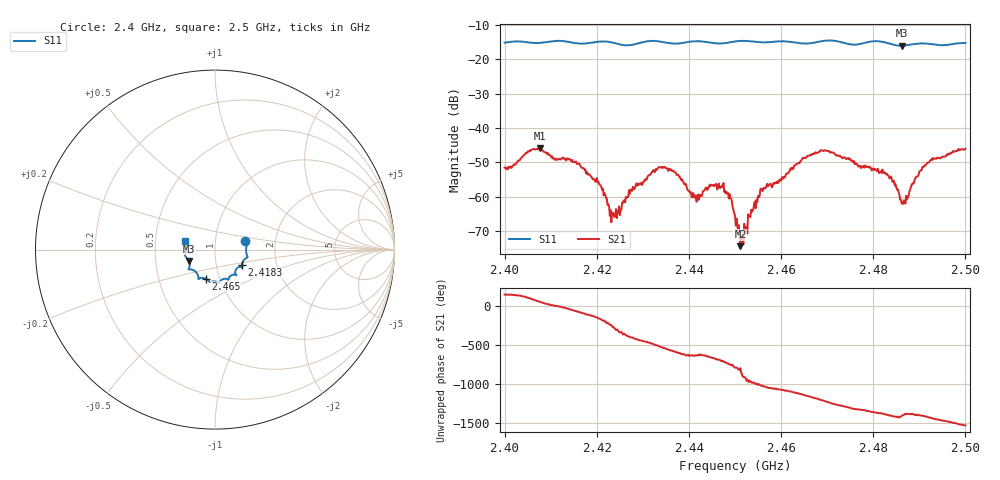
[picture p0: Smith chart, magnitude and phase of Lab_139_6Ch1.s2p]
# Hz S RI R 50
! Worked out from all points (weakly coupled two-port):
!   601 points, 2.4 GHz to 2.5 GHz, reference 50 ohm
!   highest |S21| = -45.96 dB at 2.4077 GHz (marker M1); lowest = -74.4 dB at 2.4512 GHz (marker M2)
!   lowest |S11| = -16.0 dB at 2.4862 GHz (marker M3), VSWR 1.37, Z = 37.1 - j4.83 ohm
!   |S11| at or under -10 dB: start of sweep to end of sweep
!   S12 and S22 are empty: the file has one direction only
!   S11 on the Smith chart (normalised r, x): 2.4 GHz: 1.40, +0.13; 2.4183 GHz: 1.33, -0.24; 2.465 GHz: 0.86, -0.29; 2.5 GHz: 0.71, +0.07
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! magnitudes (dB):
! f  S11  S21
! 2.4 GHz  -15.1  -51.5
! 2.4077 GHz  -15.2  -46.0
! 2.4167 GHz  -15.4  -51.5
! 2.4183 GHz  -15.2  -53.6
! 2.4208 GHz  -14.8  -56.8
! 2.4235 GHz  -15.1  -64.7
! 2.4333 GHz  -14.7  -51.5
! 2.4367 GHz  -15.4  -52.4
! 2.4417 GHz  -14.7  -61.5
! 2.447 GHz  -15.4  -57.1
! 2.4488 GHz  -15.0  -59.2
! 2.45 GHz  -14.8  -65.5
! 2.4512 GHz  -14.6  -74.4
! 2.4522 GHz  -14.6  -69.8
! 2.456 GHz  -15.0  -58.4
! 2.465 GHz  -15.4  -48.6
! 2.4667 GHz  -15.2  -47.6
! 2.47 GHz  -14.5  -46.7
! 2.4833 GHz  -15.3  -54.0
! 2.4862 GHz  -16.0  -62.0
! 2.4923 GHz  -15.5  -49.5
! 2.5 GHz  -15.2  -46.1
